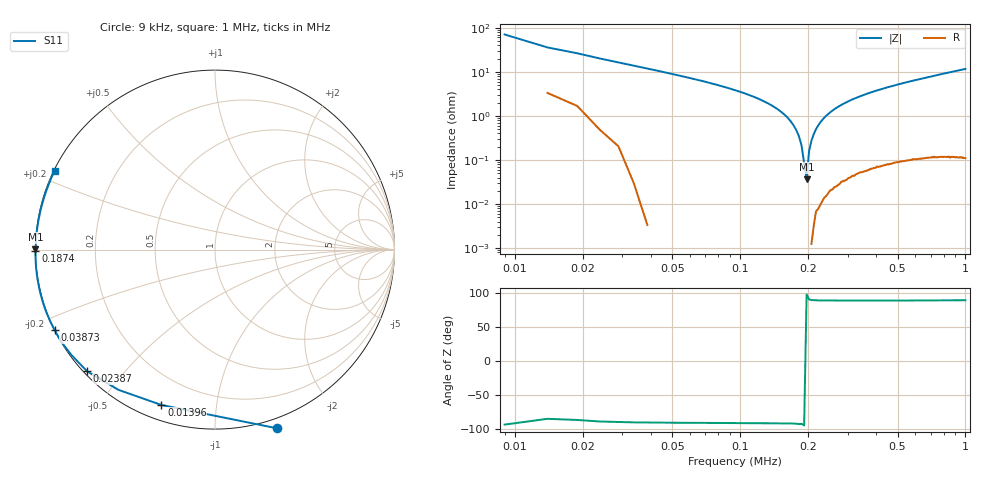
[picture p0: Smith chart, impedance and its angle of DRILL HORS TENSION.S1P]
!Agilent Technologies,E5071C,MY46109397,A.09.54
!Date: Mon Jan 01 01:37:37 2001
!Data & Calibration Information:
!Freq	S11:SOLT1(ON)
# Hz S RI R 50
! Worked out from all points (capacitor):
!   201 points, 9 kHz to 1 MHz, reference 50 ohm
!   read as one part to ground: C = 319 nF near 13.96 kHz
!   lowest |Z| = 36.7 mohm at 197.3 kHz (marker M1)
!   series resonance near 195.8 kHz, so ESL is about 2.1 uH
!   S11 on the Smith chart (normalised r, x): 9 kHz: -0.08, -1.40; 13.96 kHz: 0.07, -0.71; 23.86 kHz: 0.01, -0.40; 38.73 kHz: 0.00, -0.24; 187.4 kHz: -0.00, -0.00; 1 MHz: 0.00, +0.23
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9000  0.3452 -0.9957
13955  -0.299 -0.8655
18910  -0.5384 -0.7812
23865  -0.7123 -0.6783
28820  -0.8017 -0.5854
33775  -0.8586 -0.5105
38730  -0.8938 -0.4483
43685  -0.9187 -0.3988
48640  -0.9368 -0.3566
53595  -0.9498 -0.3211
58550  -0.9598 -0.2909
63505  -0.9671 -0.2645
73415  -0.978 -0.221
83325  -0.9851 -0.1862
98190  -0.9919 -0.1446
113055  -0.9959 -0.112
132875  -0.9986 -0.077
157650  -1 -0.0422
187380  -1 -0.00847
197290  -1 0.00146
256750  -0.9978 0.0526
316210  -0.9937 0.0948
380625  -0.9883 0.1354
504500  -0.9752 0.2049
628375  -0.959 0.2683
752250  -0.94 0.3278
876125  -0.9183 0.3845
1000000  -0.894 0.4388
